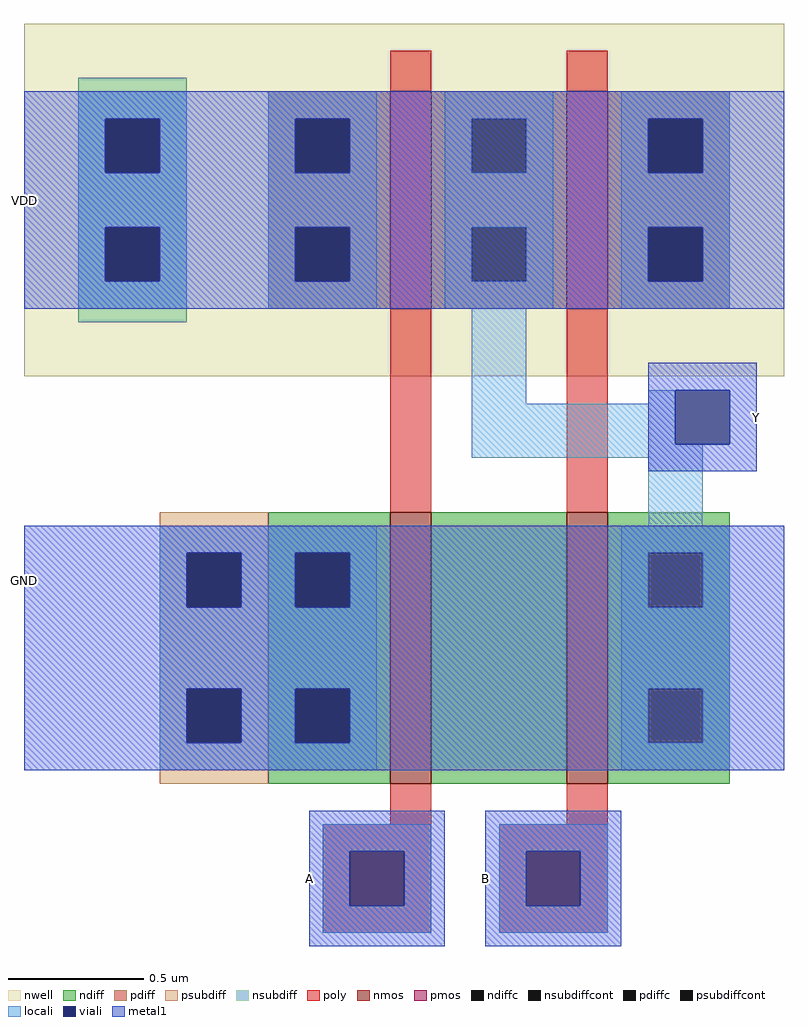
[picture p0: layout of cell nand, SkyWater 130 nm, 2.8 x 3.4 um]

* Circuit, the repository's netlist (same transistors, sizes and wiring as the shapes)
* SPICE3 file created from nand.ext - technology: sky130A

*.subckt nand VDD GND A B Y
X0 Y a_n40_n115# VDD VDD sky130_fd_pr__pfet_01v8 ad=0.2 pd=1.3 as=0.36 ps=2.5 w=0.8 l=0.15
X1 Y a_25_n115# a_0_n60# GND sky130_fd_pr__nfet_01v8 ad=0.45 pd=2.9 as=0.25 ps=1.5 w=1 l=0.15
X2 a_0_n60# a_n40_n115# GND GND sky130_fd_pr__nfet_01v8 ad=0.25 pd=1.5 as=0.45 ps=2.9 w=1 l=0.15
X3 VDD a_25_n115# Y VDD sky130_fd_pr__pfet_01v8 ad=0.36 pd=2.5 as=0.2 ps=1.3 w=0.8 l=0.15
*.ends

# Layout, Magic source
magic
tech sky130A
<< nwell >>
rect -150 90 130 220
<< nmos >>
rect -15 -60 0 40
rect 50 -60 65 40
<< pmos >>
rect -15 115 0 195
rect 50 115 65 195
<< ndiff >>
rect -60 25 -15 40
rect -60 5 -50 25
rect -30 5 -15 25
rect -60 -25 -15 5
rect -60 -45 -50 -25
rect -30 -45 -15 -25
rect -60 -60 -15 -45
rect 0 -60 50 40
rect 65 25 110 40
rect 65 5 80 25
rect 100 5 110 25
rect 65 -25 110 5
rect 65 -45 80 -25
rect 100 -45 110 -25
rect 65 -60 110 -45
<< pdiff >>
rect -60 185 -15 195
rect -60 165 -50 185
rect -30 165 -15 185
rect -60 145 -15 165
rect -60 125 -50 145
rect -30 125 -15 145
rect -60 115 -15 125
rect 0 185 50 195
rect 0 165 15 185
rect 35 165 50 185
rect 0 145 50 165
rect 0 125 15 145
rect 35 125 50 145
rect 0 115 50 125
rect 65 185 110 195
rect 65 165 80 185
rect 100 165 110 185
rect 65 145 110 165
rect 65 125 80 145
rect 100 125 110 145
rect 65 115 110 125
<< ndiffc >>
rect -50 5 -30 25
rect -50 -45 -30 -25
rect 80 5 100 25
rect 80 -45 100 -25
<< pdiffc >>
rect -50 165 -30 185
rect -50 125 -30 145
rect 15 165 35 185
rect 15 125 35 145
rect 80 165 100 185
rect 80 125 100 145
<< psubdiff >>
rect -100 25 -60 40
rect -100 5 -90 25
rect -70 5 -60 25
rect -100 -25 -60 5
rect -100 -45 -90 -25
rect -70 -45 -60 -25
rect -100 -60 -60 -45
<< nsubdiff >>
rect -130 185 -90 200
rect -130 165 -120 185
rect -100 165 -90 185
rect -130 145 -90 165
rect -130 125 -120 145
rect -100 125 -90 145
rect -130 110 -90 125
<< psubdiffcont >>
rect -90 5 -70 25
rect -90 -45 -70 -25
<< nsubdiffcont >>
rect -120 165 -100 185
rect -120 125 -100 145
<< poly >>
rect -15 195 0 210
rect 50 195 65 210
rect -15 40 0 115
rect 50 40 65 115
rect -15 -75 0 -60
rect 50 -75 65 -60
rect -40 -115 0 -75
rect 25 -115 65 -75
<< locali >>
rect -130 185 -90 195
rect -130 165 -120 185
rect -100 165 -90 185
rect -130 145 -90 165
rect -130 125 -120 145
rect -100 125 -90 145
rect -130 115 -90 125
rect -60 185 -20 195
rect -60 165 -50 185
rect -30 165 -20 185
rect -60 145 -20 165
rect -60 125 -50 145
rect -30 125 -20 145
rect -60 115 -20 125
rect 5 185 45 195
rect 5 165 15 185
rect 35 165 45 185
rect 5 145 45 165
rect 5 125 15 145
rect 35 125 45 145
rect 5 115 45 125
rect 70 185 110 195
rect 70 165 80 185
rect 100 165 110 185
rect 70 145 110 165
rect 70 125 80 145
rect 100 125 110 145
rect 70 115 110 125
rect 15 80 35 115
rect 80 80 90 85
rect 15 65 90 80
rect 15 60 100 65
rect 80 35 100 60
rect -100 25 -20 35
rect -100 5 -90 25
rect -70 5 -50 25
rect -30 5 -20 25
rect -100 -25 -20 5
rect -100 -45 -90 -25
rect -70 -45 -50 -25
rect -30 -45 -20 -25
rect -100 -55 -20 -45
rect 70 25 110 35
rect 70 5 80 25
rect 100 5 110 25
rect 70 -25 110 5
rect 70 -45 80 -25
rect 100 -45 110 -25
rect 70 -55 110 -45
rect -40 -85 0 -75
rect -40 -105 -30 -85
rect -10 -105 0 -85
rect -40 -115 0 -105
rect 25 -85 65 -75
rect 25 -105 35 -85
rect 55 -105 65 -85
rect 25 -115 65 -105
<< viali >>
rect -120 165 -100 185
rect -120 125 -100 145
rect -50 165 -30 185
rect -50 125 -30 145
rect 80 165 100 185
rect 80 125 100 145
rect 90 65 110 85
rect -90 5 -70 25
rect -50 5 -30 25
rect -90 -45 -70 -25
rect -50 -45 -30 -25
rect -30 -105 -10 -85
rect 35 -105 55 -85
<< metal1 >>
rect -150 185 130 195
rect -150 165 -120 185
rect -100 165 -50 185
rect -30 165 80 185
rect 100 165 130 185
rect -150 145 130 165
rect -150 125 -120 145
rect -100 125 -50 145
rect -30 125 80 145
rect 100 125 130 145
rect -150 115 130 125
rect 80 85 120 95
rect 80 65 90 85
rect 110 65 120 85
rect 80 55 120 65
rect -150 25 130 35
rect -150 5 -90 25
rect -70 5 -50 25
rect -30 5 130 25
rect -150 -25 130 5
rect -150 -45 -90 -25
rect -70 -45 -50 -25
rect -30 -45 130 -25
rect -150 -55 130 -45
rect -45 -85 5 -70
rect -45 -105 -30 -85
rect -10 -105 5 -85
rect -45 -120 5 -105
rect 20 -85 70 -70
rect 20 -105 35 -85
rect 55 -105 70 -85
rect 20 -120 70 -105
<< labels >>
rlabel metal1 -150 155 -150 155 7 VDD
port 1 w
rlabel metal1 -150 15 -150 15 7 GND
port 2 w
rlabel metal1 120 75 120 75 3 Y
port 5 e
rlabel metal1 -45 -95 -45 -95 7 A
port 3 w
rlabel metal1 20 -95 20 -95 7 B
port 4 w
<< end >>
